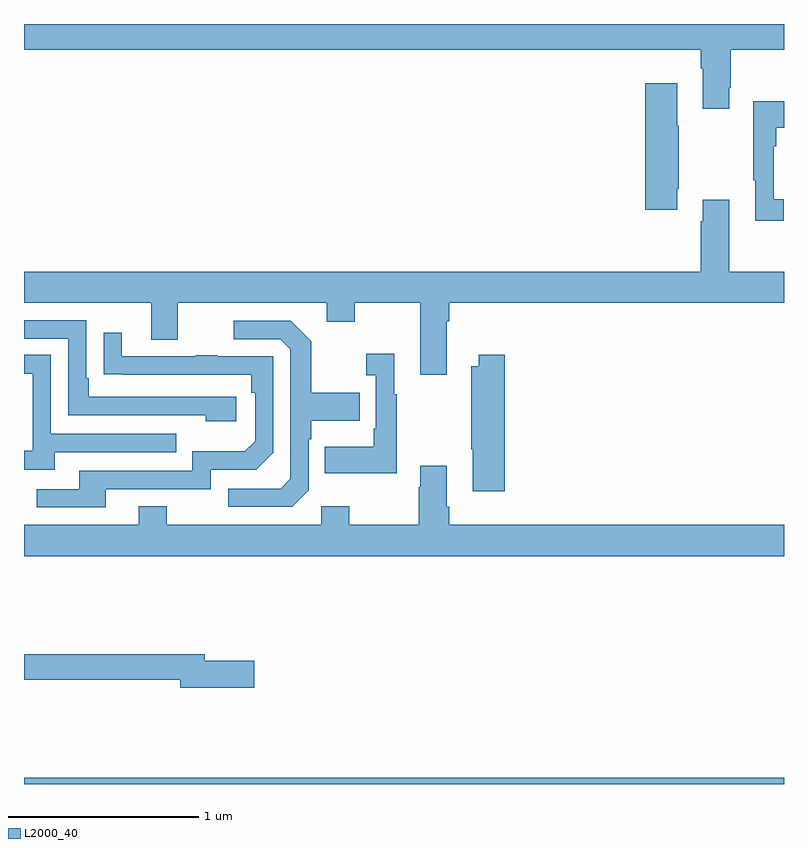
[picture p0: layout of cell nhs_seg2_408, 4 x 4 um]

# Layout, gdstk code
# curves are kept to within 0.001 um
import gdstk
lib = gdstk.Library(unit=1e-6, precision=1e-09)
def R(c, l, rs):  # rectangles x0, y0, x1, y1
    for r in rs: c.add(gdstk.rectangle(r[:2], r[2:], *l))
def P(c, l, *ps):  # polygons
    for p in ps: c.add(gdstk.Polygon(p, *l))
L2000_40 = (2000, 40)

nhs_seg2_408 = lib.new_cell('nhs_seg2_408')
R(nhs_seg2_408, L2000_40, [(131,615.8,135,615.832)])
P(nhs_seg2_408, L2000_40, [(134.713,619.465),(134.721,619.465),(134.721,619.664),(135,619.664),(135,619.8),(131,619.8),(131,619.664),(134.561,619.664),(134.561,619.568),(134.573,619.568),(134.573,619.353),(134.713,619.353)],
  [(134.437,618.934),(134.445,618.934),(134.445,619.265),(134.437,619.265),(134.437,619.489),(134.27,619.489),(134.27,618.822),(134.437,618.822)],
  [(134.998,618.878),(134.946,618.878),(134.946,619.157),(134.959,619.157),(134.959,619.253),(135,619.253),(135,619.393),(134.838,619.393),(134.838,618.977),(134.849,618.977),(134.849,618.765),(134.998,618.765)],
  [(133.225,618.236),(133.238,618.236),(133.238,618.332),(135,618.332),(135,618.496),(134.713,618.496),(134.713,618.874),(134.573,618.874),(134.573,618.761),(134.561,618.761),(134.561,618.496),(131,618.496),(131,618.332),(131.669,618.332),(131.669,618.138),(131.809,618.138),(131.809,618.332),(132.593,618.332),(132.593,618.233),(132.741,618.233),(132.741,618.332),(133.085,618.332),(133.085,617.955),(133.225,617.955)],
  [(132.118,617.838),(131.341,617.838),(131.341,617.935),(131.328,617.935),(131.328,618.24),(131,618.24),(131,618.144),(131.232,618.144),(131.232,617.742),(131.957,617.742),(131.957,617.708),(132.118,617.708)],
  [(132.498,617.346),(132.498,617.615),(132.511,617.615),(132.511,617.711),(132.767,617.711),(132.767,617.859),(132.511,617.859),(132.511,618.131),(132.405,618.237),(132.105,618.237),(132.105,618.141),(132.348,618.141),(132.402,618.087),(132.402,617.406),(132.351,617.355),(132.075,617.355),(132.075,617.259),(132.411,617.259)],
  [(131.431,617.352),(131.982,617.352),(131.982,617.454),(132.222,617.454),(132.312,617.544),(132.312,618.051),(132.017,618.051),(132.017,618.056),(131.905,618.056),(131.905,618.051),(131.515,618.051),(131.515,618.175),(131.419,618.175),(131.419,617.956),(132.196,617.955),(132.196,617.858),(132.216,617.858),(132.216,617.604),(132.163,617.551),(131.886,617.551),(131.886,617.448),(131.291,617.448),(131.291,617.352),(131.067,617.352),(131.067,617.256),(131.431,617.256)],
  [(132.961,617.851),(132.949,617.851),(132.949,618.064),(132.801,618.064),(132.801,617.951),(132.852,617.951),(132.852,617.671),(132.84,617.671),(132.84,617.575),(132.583,617.575),(132.583,617.435),(132.961,617.435)],
  [(131.161,617.547),(131.801,617.547),(131.801,617.643),(131.142,617.643),(131.142,618.059),(131,618.059),(131,617.958),(131.046,617.958),(131.046,617.553),(131,617.553),(131,617.453),(131.161,617.453)],
  [(133.529,618.058),(133.394,618.058),(133.394,617.998),(133.354,617.998),(133.354,617.563),(133.361,617.563),(133.361,617.34),(133.529,617.34)],
  [(135,617.164),(133.238,617.164),(133.238,617.26),(133.225,617.26),(133.225,617.476),(133.085,617.476),(133.085,617.363),(133.078,617.363),(133.078,617.164),(132.711,617.164),(132.711,617.263),(132.564,617.263),(132.564,617.164),(131.751,617.164),(131.751,617.263),(131.603,617.263),(131.603,617.164),(131,617.164),(131,617),(135,617)],
  [(132.211,616.448),(131.95,616.448),(131.95,616.484),(131,616.484),(131,616.348),(131.822,616.348),(131.822,616.306),(132.211,616.306)])

lib.write_gds('nhs_seg2_408.gds')
